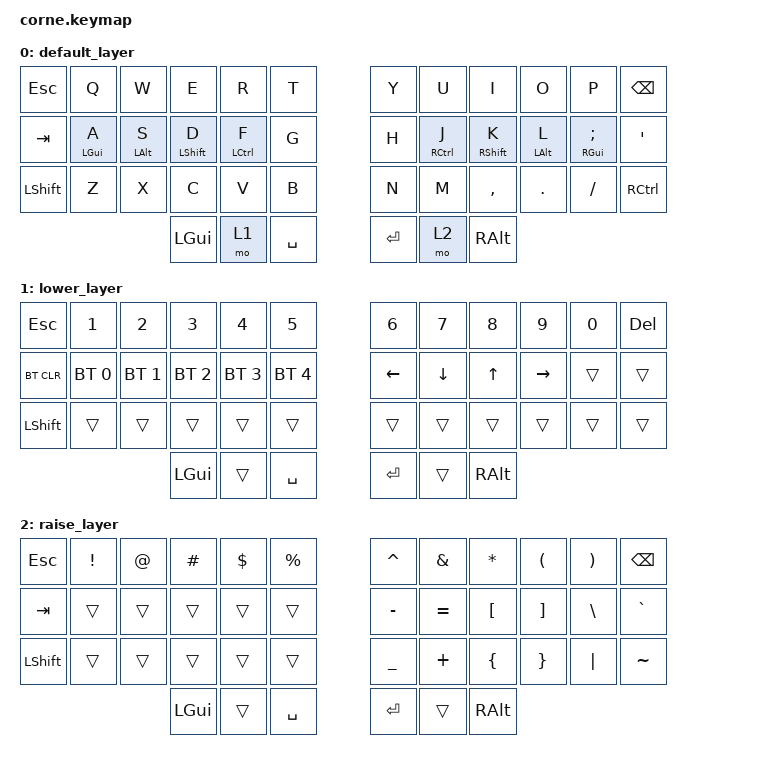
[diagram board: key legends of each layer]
/*
 * Copyright (c) 2020 The ZMK Contributors
 *
 * SPDX-License-Identifier: MIT
 */

#include <behaviors.dtsi>
#include <dt-bindings/zmk/keys.h>
#include <dt-bindings/zmk/bt.h>


/ {
    behaviors {
        hml: home_row_mod_left {
            compatible = "zmk,behavior-hold-tap";
            #binding-cells = <2>;
            flavor = "balanced";
            require-prior-idle-ms = <150>;
            tapping-term-ms = <280>;
            quick-tap-ms = <175>;
            bindings = <&kp>, <&kp>;
            hold-trigger-on-release;
        };

        hmr: home_row_mod_right {
            compatible = "zmk,behavior-hold-tap";
            #binding-cells = <2>;
            flavor = "balanced";
            require-prior-idle-ms = <150>;
            tapping-term-ms = <280>;
            quick-tap-ms = <175>;
            bindings = <&kp>, <&kp>;
            hold-trigger-on-release;
        };
    };
};

/ {
        keymap {
                compatible = "zmk,keymap";

                default_layer {
// -----------------------------------------------------------------------------------------
// |  TAB |  Q  |  W  |  E  |  R  |  T  |   |  Y  |  U   |  I  |  O  |  P  | BSPC |
// | CTRL |  A  |  S  |  D  |  F  |  G  |   |  H  |  J   |  K  |  L  |  ;  |  '   |
// | SHFT |  Z  |  X  |  C  |  V  |  B  |   |  N  |  M   |  ,  |  .  |  /  | ESC  |
//                    | GUI | LWR | SPC |   | ENT | RSE  | ALT |
                        bindings = <
   &kp ESC   &kp Q &kp W &kp E &kp R &kp T   &kp Y &kp U  &kp I     &kp O   &kp P    &kp BSPC
   &kp TAB &hml LGUI A &hml LALT S &hml LSHFT D &hml LCTRL F &kp G   &kp H &hmr RCTRL J  &hmr RSHFT K     &hmr LALT L   &hmr RGUI SEMI &kp SQT
   &kp LSHFT &kp Z &kp X &kp C &kp V &kp B   &kp N &kp M  &kp COMMA &kp DOT &kp FSLH &kp RCTRL
                  &kp LGUI &mo 1 &kp SPACE   &kp RET &mo 2 &kp RALT
                        >;
                };
                lower_layer {
// -----------------------------------------------------------------------------------------
// |  TAB |  1  |  2  |  3  |  4  |  5  |   |  6  |  7  |  8  |  9  |  0  | BSPC |
// | BTCLR| BT1 | BT2 | BT3 | BT4 | BT5 |   | LFT | DWN |  UP | RGT |     |      |
// | SHFT |     |     |     |     |     |   |     |     |     |     |     |      |
//                    | GUI |     | SPC |   | ENT |     | ALT |
                        bindings = <
   &kp ESC    &kp N1       &kp N2       &kp N3       &kp N4       &kp N5         &kp N6   &kp N7   &kp N8 &kp N9    &kp N0 &kp DEL
   &bt BT_CLR &bt BT_SEL 0 &bt BT_SEL 1 &bt BT_SEL 2 &bt BT_SEL 3 &bt BT_SEL 4   &kp LEFT &kp DOWN &kp UP &kp RIGHT &trans &trans
   &kp LSHFT  &trans       &trans       &trans       &trans       &trans         &trans   &trans   &trans &trans    &trans &trans
                                    &kp LGUI     &trans       &kp SPACE      &kp RET  &trans   &kp RALT
                        >;
                };

                raise_layer {
// -----------------------------------------------------------------------------------------
// |  TAB |  !  |  @  |  #  |  $  |  %  |   |  ^  |  &  |  *  |  (  |  )  | BSPC |
// | CTRL |     |     |     |     |     |   |  -  |  =  |  [  |  ]  |  \  |  `   |
// | SHFT |     |     |     |     |     |   |  _  |  +  |  {  |  }  | "|" |  ~   |
//                    | GUI |     | SPC |   | ENT |     | ALT |
                        bindings = <
   &kp ESC  &kp EXCL &kp AT &kp HASH &kp DLLR &kp PRCNT   &kp CARET &kp AMPS  &kp ASTRK &kp LPAR &kp RPAR &kp BSPC
   &kp TAB &trans   &trans &trans   &trans   &trans      &kp MINUS &kp EQUAL &kp LBKT  &kp RBKT &kp BSLH &kp GRAVE
   &kp LSHFT &trans   &trans &trans   &trans   &trans      &kp UNDER &kp PLUS  &kp LBRC  &kp RBRC &kp PIPE &kp TILDE
                             &kp LGUI &trans   &kp SPACE   &kp RET   &trans    &kp RALT
                        >;
                };
        };
};
